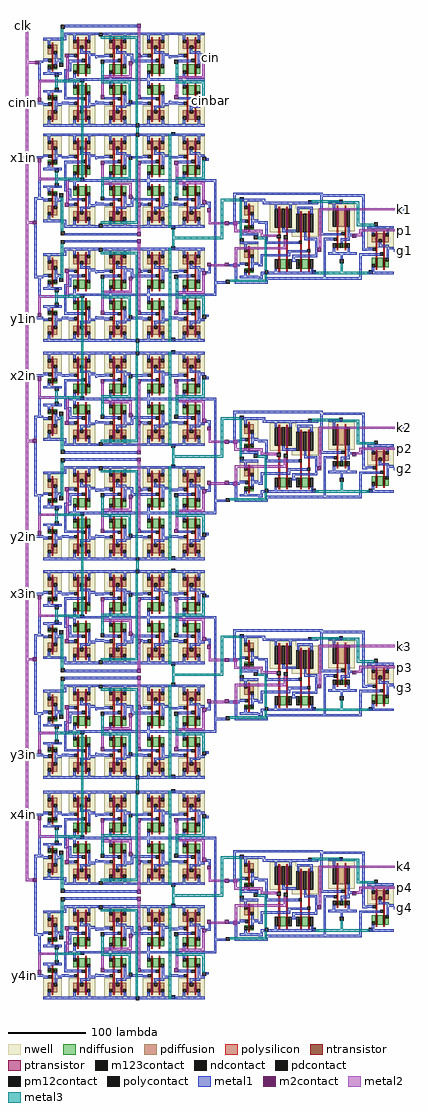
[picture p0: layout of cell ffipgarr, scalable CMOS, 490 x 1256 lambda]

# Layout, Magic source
magic
tech scmos
<< metal1 >>
rect -19 406 -18 409
rect 219 366 222 369
rect 219 310 222 313
rect -19 307 -2 310
rect -19 237 -6 240
rect 468 170 471 173
rect 468 143 471 146
rect 468 117 471 120
rect -19 30 -6 33
rect -19 -44 -6 -41
rect 468 -111 471 -108
rect 468 -138 471 -135
rect 468 -164 471 -161
rect -19 -251 -6 -248
rect -19 -325 -6 -322
rect 468 -392 471 -389
rect 468 -419 471 -416
rect 468 -445 471 -442
rect -19 -532 -6 -529
rect -19 -609 -6 -606
rect 468 -676 471 -673
rect 468 -703 471 -700
rect 468 -729 471 -726
rect -18 -816 -6 -813
<< m2contact >>
rect -18 405 -13 410
rect -4 358 1 363
rect -7 152 -2 157
rect -7 -129 -2 -124
rect -7 -410 -2 -405
rect -7 -694 -2 -689
<< metal2 >>
rect -16 362 -13 405
rect -16 359 -4 362
rect -16 156 -13 359
rect -16 153 -7 156
rect -16 -125 -13 153
rect -16 -128 -7 -125
rect -16 -406 -13 -128
rect -16 -409 -7 -406
rect -16 -690 -13 -409
rect -16 -693 -7 -690
<< metal3 >>
rect 55 212 58 335
rect 126 270 129 277
rect 55 -69 58 58
rect 126 -11 129 0
rect 55 -350 58 -223
rect 126 -292 129 -281
rect 55 -634 58 -504
rect 126 -576 129 -562
use ffi  ffi_0
transform 1 0 12 0 -1 368
box -14 -42 207 91
use ffipg  ffipg_0
transform 1 0 -2 0 1 0
box -4 0 470 271
use ffipg  ffipg_1
transform 1 0 -2 0 1 -281
box -4 0 470 271
use ffipg  ffipg_2
transform 1 0 -2 0 1 -562
box -4 0 470 271
use ffipg  ffipg_3
transform 1 0 -2 0 1 -846
box -4 0 470 271
<< labels >>
rlabel metal1 -19 406 -19 409 4 clk
rlabel metal1 -19 307 -19 310 3 cinin
rlabel metal1 -19 237 -19 240 3 x1in
rlabel metal1 -19 30 -19 33 3 y1in
rlabel metal1 -19 -44 -19 -41 3 x2in
rlabel metal1 -19 -251 -19 -248 3 y2in
rlabel metal1 -19 -325 -19 -322 3 x3in
rlabel metal1 -19 -532 -19 -529 3 y3in
rlabel metal1 -19 -609 -19 -606 3 x4in
rlabel metal1 -18 -816 -18 -813 3 y4in
rlabel metal1 471 -729 471 -726 7 g4
rlabel metal1 471 -703 471 -700 7 p4
rlabel metal1 471 -676 471 -673 7 k4
rlabel metal1 471 -392 471 -389 7 k3
rlabel metal1 471 -419 471 -416 7 p3
rlabel metal1 471 -445 471 -442 7 g3
rlabel metal1 471 -111 471 -108 7 k2
rlabel metal1 471 -138 471 -135 7 p2
rlabel metal1 471 -164 471 -161 7 g2
rlabel metal1 471 117 471 120 7 g1
rlabel metal1 471 143 471 146 7 p1
rlabel metal1 471 170 471 173 7 k1
rlabel metal1 222 366 222 369 1 cin
rlabel metal1 222 310 222 313 1 cinbar
<< end >>

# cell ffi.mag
magic
tech scmos
<< metal1 >>
rect 18 87 27 90
rect 61 87 73 90
rect 107 87 113 90
rect 118 87 122 90
rect 156 87 168 90
rect -14 58 -6 61
rect 18 58 27 61
rect 61 58 73 61
rect 61 57 64 58
rect 109 58 122 61
rect 156 58 168 61
rect 156 57 159 58
rect 204 55 207 58
rect 21 52 27 55
rect 21 33 24 52
rect 120 52 122 55
rect -12 30 24 33
rect -12 8 -9 30
rect 21 19 24 30
rect 61 30 73 31
rect 61 28 76 30
rect 107 28 122 31
rect 156 28 168 31
rect 21 16 30 19
rect -14 5 -6 8
rect 15 5 18 8
rect 27 7 30 16
rect 109 7 110 9
rect 109 6 122 7
rect 107 4 122 6
rect 61 1 64 2
rect 61 -2 73 1
rect 107 -4 110 4
rect 156 1 159 2
rect 120 -2 122 1
rect 156 -2 168 1
rect 204 -1 207 2
rect 18 -24 24 -21
rect 21 -28 24 -24
rect 21 -31 29 -28
rect 61 -31 66 -28
rect 71 -31 73 -28
rect 107 -31 122 -28
rect 156 -31 168 -28
rect 22 -41 115 -38
<< m2contact >>
rect -13 53 -8 58
rect 68 50 73 55
rect 115 50 120 55
rect 163 50 168 55
rect 104 6 109 11
rect 22 -4 27 1
rect 115 -4 120 1
rect 199 -1 204 4
rect 115 -42 120 -37
<< metal2 >>
rect -12 33 -9 53
rect -12 30 27 33
rect 24 1 27 30
rect 69 27 72 50
rect 69 24 108 27
rect 105 11 108 24
rect 116 1 119 50
rect 165 28 168 50
rect 165 25 202 28
rect 199 4 202 25
rect 116 -37 119 -4
<< m123contact >>
rect 113 86 118 91
rect 104 56 109 61
rect 199 55 204 60
rect 9 40 14 45
rect 9 21 14 26
rect 15 8 20 13
rect 42 28 47 33
rect 68 4 73 9
rect 163 4 168 9
rect 66 -31 71 -26
rect 17 -41 22 -36
<< metal3 >>
rect 10 33 13 40
rect 104 34 107 56
rect 10 30 42 33
rect 10 26 13 30
rect 69 31 107 34
rect 69 9 72 31
rect 17 -36 20 8
rect 113 -23 116 86
rect 199 34 202 55
rect 165 31 202 34
rect 165 9 168 31
rect 68 -26 116 -23
use inv  inv_0
transform 1 0 -6 0 1 57
box 0 -15 24 33
use nand  nand_0
transform 1 0 27 0 1 63
box 0 -35 34 27
use inv  inv_1
transform 1 0 -6 0 -1 9
box 0 -15 24 33
use nand  nand_2
transform 1 0 27 0 -1 -4
box 0 -35 34 27
use nand  nand_1
transform 1 0 73 0 1 63
box 0 -35 34 27
use nand  nand_3
transform 1 0 73 0 -1 -4
box 0 -35 34 27
use nand  nand_4
transform 1 0 122 0 1 63
box 0 -35 34 27
use nand  nand_5
transform 1 0 122 0 -1 -4
box 0 -35 34 27
use nand  nand_6
transform 1 0 168 0 1 63
box 0 -35 34 27
use nand  nand_7
transform 1 0 168 0 -1 -4
box 0 -35 34 27
<< labels >>
rlabel metal1 -14 58 -14 61 3 d
rlabel metal1 207 -1 207 2 7 qbar
rlabel metal1 207 55 207 58 7 q
rlabel metal1 -14 5 -14 8 3 clk
<< end >>

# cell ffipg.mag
magic
tech scmos
<< metal1 >>
rect -4 237 0 240
rect 216 207 231 210
rect -3 156 0 187
rect 221 173 224 181
rect -4 153 0 156
rect -3 83 0 153
rect 221 89 224 98
rect 228 79 231 207
rect 469 170 470 173
rect 247 152 249 155
rect 469 143 470 146
rect 469 117 470 120
rect 247 98 249 101
rect 228 76 243 79
rect 228 63 231 76
rect 215 60 231 63
rect -4 30 0 33
<< m2contact >>
rect 219 168 224 173
rect 219 98 224 103
rect 242 151 247 156
rect 242 98 247 103
<< metal2 >>
rect 221 155 224 168
rect 221 152 242 155
rect 224 98 242 101
<< m123contact >>
rect 173 266 178 271
rect 261 182 266 187
rect 173 146 178 151
rect 173 119 178 124
rect 293 88 298 93
rect 243 76 248 81
rect 173 1 178 6
<< metal3 >>
rect 170 148 173 269
rect 237 182 261 185
rect 174 136 177 146
rect 237 136 240 182
rect 174 133 240 136
rect 174 124 177 133
rect 170 1 173 122
rect 293 81 296 88
rect 248 78 296 81
use ffi  ffi_1
transform 1 0 14 0 1 179
box -14 -42 207 91
use ffi  ffi_0
transform 1 0 14 0 -1 91
box -14 -42 207 91
use pggen  pggen_0
transform 1 0 250 0 1 82
box -1 -6 219 111
<< labels >>
rlabel metal1 -4 30 -4 33 3 y
rlabel metal1 -4 237 -4 240 3 x
rlabel metal1 -4 153 -4 156 3 clk
rlabel metal1 470 170 470 173 7 k
rlabel metal1 470 117 470 120 7 g
rlabel metal1 470 143 470 146 7 p
<< end >>

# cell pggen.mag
magic
tech scmos
<< metal1 >>
rect 3 109 118 111
rect 3 108 172 109
rect 3 74 6 108
rect 115 106 172 108
rect -1 70 0 73
rect 3 69 8 74
rect 115 59 118 106
rect 115 56 125 59
rect 119 50 125 53
rect -1 16 0 19
rect 3 15 8 20
rect 5 -3 8 15
rect 119 2 122 50
rect 169 39 172 106
rect 217 88 219 91
rect 217 61 219 64
rect 169 36 175 39
rect 209 35 219 38
rect 159 31 162 34
rect 141 25 144 31
rect 165 30 175 33
rect 165 2 168 30
rect 44 -1 168 2
rect 44 -3 47 -1
rect 5 -6 47 -3
<< m2contact >>
rect 156 53 161 58
rect 111 35 116 40
rect 212 86 217 91
rect 212 59 217 64
<< metal2 >>
rect 113 88 212 91
rect 3 69 8 74
rect 113 40 116 88
rect 165 61 212 64
rect 165 58 168 61
rect 161 55 168 58
rect 3 15 8 20
<< m123contact >>
rect 99 96 104 101
rect 139 97 144 102
rect 184 68 189 73
rect 140 20 145 25
rect 104 6 109 11
rect 177 6 182 11
<< metal3 >>
rect 104 98 139 101
rect 144 97 165 100
rect 162 71 165 97
rect 162 68 184 71
rect 141 9 144 20
rect 109 6 177 9
use xor  xor_0
transform 1 0 53 0 1 56
box -53 -56 59 49
use nor  nor_0
transform 1 0 125 0 1 61
box 0 -30 34 39
use nand  nand_0
transform 1 0 175 0 1 41
box 0 -35 34 27
<< labels >>
rlabel metal1 219 35 219 38 7 g
rlabel metal1 219 61 219 64 7 p
rlabel metal1 219 88 219 91 7 k
rlabel metal1 -1 70 -1 73 3 x
rlabel metal1 -1 16 -1 19 3 y
<< end >>

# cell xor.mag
magic
tech scmos
<< nwell >>
rect -3 34 31 40
rect -3 4 59 34
rect 25 -2 59 4
<< ntransistor >>
rect 8 -43 10 -31
rect 18 -43 20 -31
rect 36 -43 38 -31
rect 46 -43 48 -31
<< ptransistor >>
rect 8 10 10 34
rect 18 10 20 34
rect 36 4 38 28
rect 46 4 48 28
<< ndiffusion >>
rect 7 -43 8 -31
rect 10 -43 18 -31
rect 20 -43 21 -31
rect 35 -43 36 -31
rect 38 -43 46 -31
rect 48 -43 49 -31
<< pdiffusion >>
rect 7 10 8 34
rect 10 10 12 34
rect 16 10 18 34
rect 20 10 21 34
rect 35 4 36 28
rect 38 4 40 28
rect 44 4 46 28
rect 48 4 49 28
<< ndcontact >>
rect 3 -43 7 -31
rect 21 -43 25 -31
rect 31 -43 35 -31
rect 49 -43 53 -31
<< pdcontact >>
rect 3 10 7 34
rect 12 10 16 34
rect 21 10 25 34
rect 31 4 35 28
rect 40 4 44 28
rect 49 4 53 28
<< polysilicon >>
rect 8 34 10 37
rect 18 34 20 37
rect 36 28 38 31
rect 46 28 48 31
rect 8 1 10 10
rect 18 0 20 10
rect 8 -31 10 -4
rect 18 -31 20 -5
rect 36 -7 38 4
rect 36 -31 38 -11
rect 46 -18 48 4
rect 46 -31 48 -22
rect 8 -46 10 -43
rect 18 -46 20 -43
rect 36 -46 38 -43
rect 46 -46 48 -43
<< polycontact >>
rect 34 -11 38 -7
rect 45 -22 49 -18
<< metal1 >>
rect -18 44 -9 47
rect -12 43 -9 44
rect -12 40 59 43
rect 3 34 6 40
rect 22 34 25 40
rect -53 14 -50 17
rect -45 15 -42 18
rect -18 15 -6 18
rect -19 -1 -18 0
rect -9 -8 -6 15
rect 32 34 52 37
rect 32 28 35 34
rect 49 28 52 34
rect 13 7 16 10
rect 13 4 31 7
rect 41 -3 44 4
rect 41 -6 58 -3
rect -9 -11 34 -8
rect 55 -17 58 -6
rect 20 -22 45 -19
rect 55 -21 59 -17
rect 20 -24 23 -22
rect -15 -27 23 -24
rect 55 -25 58 -21
rect -53 -40 -50 -37
rect -15 -37 -12 -27
rect 26 -28 58 -25
rect 26 -31 29 -28
rect -45 -40 -42 -37
rect -18 -40 -12 -37
rect 25 -34 31 -31
rect -15 -50 -10 -47
rect 3 -47 6 -43
rect 50 -47 53 -43
rect -5 -50 59 -47
rect -15 -53 -12 -50
rect -18 -56 -12 -53
<< m2contact >>
rect -50 13 -45 18
rect -50 -41 -45 -36
<< pm12contact >>
rect 6 -4 11 1
rect 15 -5 20 0
<< metal2 >>
rect -49 7 -46 13
rect -49 4 -12 7
rect -15 1 -12 4
rect -15 -2 6 1
rect 15 -15 18 -5
rect -48 -18 18 -15
rect -48 -36 -45 -18
<< m123contact >>
rect -42 44 -37 49
rect -42 -9 -37 -4
rect -24 -5 -19 0
rect -10 -50 -5 -45
<< metal3 >>
rect -42 -4 -39 44
rect -19 -5 -7 -2
rect -10 -45 -7 -5
use inv  inv_0
transform 1 0 -42 0 1 14
box 0 -15 24 33
use inv  inv_1
transform 1 0 -42 0 1 -41
box 0 -15 24 33
<< labels >>
rlabel metal1 28 -49 28 -49 1 gnd!
rlabel metal1 27 42 27 42 5 vdd!
rlabel metal1 59 -21 59 -17 7 op
rlabel metal1 -10 41 -10 41 1 vdd!
rlabel metal1 -11 -49 -11 -49 1 gnd!
rlabel metal1 -53 -40 -53 -37 3 b
rlabel metal1 -53 14 -53 17 3 a
<< end >>

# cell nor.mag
magic
tech scmos
<< nwell >>
rect 0 0 34 36
<< ntransistor >>
rect 11 -21 13 -15
rect 21 -21 23 -15
<< ptransistor >>
rect 11 6 13 30
rect 21 6 23 30
<< ndiffusion >>
rect 10 -21 11 -15
rect 13 -21 15 -15
rect 19 -21 21 -15
rect 23 -21 24 -15
<< pdiffusion >>
rect 10 6 11 30
rect 13 6 21 30
rect 23 6 24 30
<< ndcontact >>
rect 6 -21 10 -15
rect 15 -21 19 -15
rect 24 -21 28 -15
<< pdcontact >>
rect 6 6 10 30
rect 24 6 28 30
<< polysilicon >>
rect 11 30 13 33
rect 21 30 23 33
rect 11 -15 13 6
rect 21 -15 23 6
rect 11 -24 13 -21
rect 21 -24 23 -21
<< polycontact >>
rect 7 -12 11 -8
rect 17 -5 21 -1
<< metal1 >>
rect 0 36 34 39
rect 6 30 9 36
rect 0 -5 17 -2
rect 25 -3 28 6
rect 25 -6 34 -3
rect 0 -11 7 -8
rect 25 -9 28 -6
rect 16 -12 28 -9
rect 16 -15 19 -12
rect 6 -27 9 -21
rect 25 -27 28 -21
rect 0 -30 34 -27
<< labels >>
rlabel metal1 18 37 18 37 5 vdd!
rlabel metal1 34 -6 34 -3 7 out
rlabel metal1 21 -28 21 -28 1 gnd!
rlabel metal1 0 -5 0 -2 3 b
rlabel metal1 0 -11 0 -8 3 a
<< end >>

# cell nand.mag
magic
tech scmos
<< nwell >>
rect 0 0 34 24
<< ntransistor >>
rect 11 -26 13 -14
rect 21 -26 23 -14
<< ptransistor >>
rect 11 6 13 18
rect 21 6 23 18
<< ndiffusion >>
rect 6 -22 11 -14
rect 10 -26 11 -22
rect 13 -26 21 -14
rect 23 -18 24 -14
rect 23 -26 28 -18
<< pdiffusion >>
rect 10 14 11 18
rect 6 6 11 14
rect 13 10 21 18
rect 13 6 15 10
rect 19 6 21 10
rect 23 14 24 18
rect 23 6 28 14
<< ndcontact >>
rect 6 -26 10 -22
rect 24 -18 28 -14
<< pdcontact >>
rect 6 14 10 18
rect 15 6 19 10
rect 24 14 28 18
<< polysilicon >>
rect 11 18 13 21
rect 21 18 23 21
rect 11 -14 13 6
rect 21 -14 23 6
rect 11 -29 13 -26
rect 21 -29 23 -26
<< polycontact >>
rect 7 -5 11 -1
rect 17 -11 21 -7
<< metal1 >>
rect 0 24 34 27
rect 6 18 9 24
rect 25 18 28 24
rect 15 3 18 6
rect 15 0 28 3
rect 0 -4 7 -1
rect 25 -3 34 0
rect 0 -11 17 -8
rect 25 -14 28 -3
rect 6 -32 9 -26
rect 0 -35 34 -32
<< labels >>
rlabel metal1 24 26 24 26 5 vdd!
rlabel metal1 24 -34 24 -34 1 gnd!
rlabel metal1 0 -11 0 -8 3 b
rlabel metal1 0 -4 0 -1 3 a
rlabel metal1 34 -3 34 0 7 out
<< end >>

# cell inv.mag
magic
tech scmos
<< nwell >>
rect 0 6 24 30
<< ntransistor >>
rect 11 -7 13 -1
<< ptransistor >>
rect 11 12 13 24
<< ndiffusion >>
rect 6 -3 11 -1
rect 10 -7 11 -3
rect 13 -5 14 -1
rect 13 -7 18 -5
<< pdiffusion >>
rect 10 20 11 24
rect 6 12 11 20
rect 13 16 18 24
rect 13 12 14 16
<< ndcontact >>
rect 6 -7 10 -3
rect 14 -5 18 -1
<< pdcontact >>
rect 6 20 10 24
rect 14 12 18 16
<< polysilicon >>
rect 11 24 13 27
rect 11 -1 13 12
rect 11 -10 13 -7
<< polycontact >>
rect 7 2 11 6
<< metal1 >>
rect 0 30 24 33
rect 6 24 9 30
rect 15 6 18 12
rect 0 3 7 6
rect 15 3 24 6
rect 15 -1 18 3
rect 6 -11 9 -7
rect 0 -14 24 -11
<< labels >>
rlabel metal1 14 31 14 31 5 vdd!
rlabel metal1 24 3 24 6 7 op
rlabel metal1 0 3 0 6 3 in
rlabel metal1 20 -13 20 -13 1 gnd!
<< end >>
